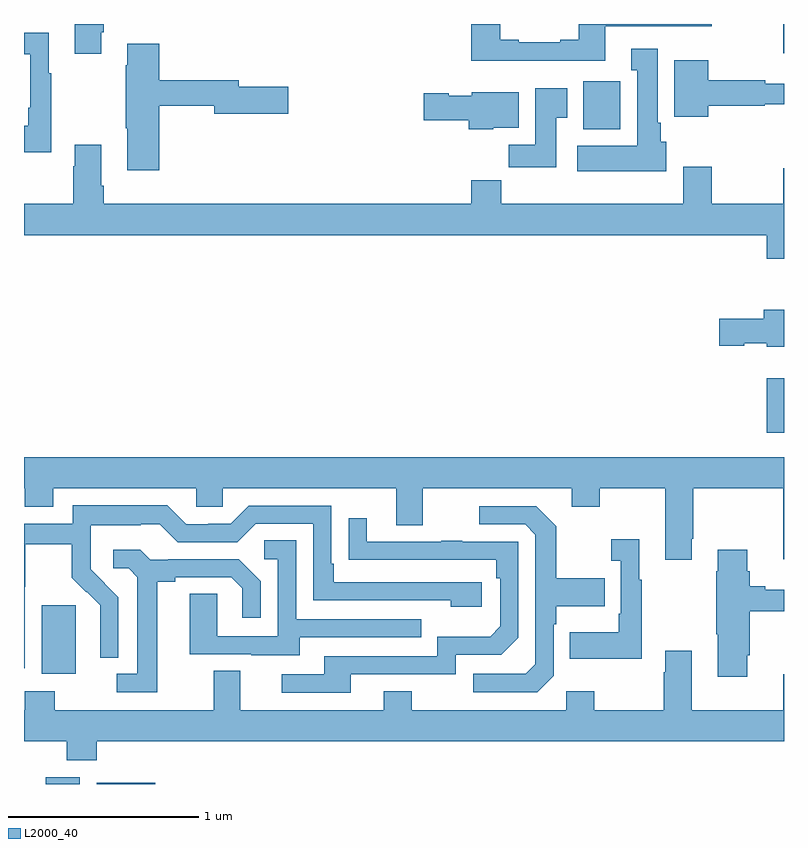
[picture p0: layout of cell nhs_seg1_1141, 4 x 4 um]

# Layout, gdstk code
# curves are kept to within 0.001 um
import gdstk
lib = gdstk.Library(unit=1e-6, precision=1e-09)
def R(c, l, rs):  # rectangles x0, y0, x1, y1
    for r in rs: c.add(gdstk.rectangle(r[:2], r[2:], *l))
def P(c, l, *ps):  # polygons
    for p in ps: c.add(gdstk.Polygon(p, *l))
L2000_40 = (2000, 40)

nhs_seg1_1141 = lib.new_cell('nhs_seg1_1141')
R(nhs_seg1_1141, L2000_40, [(173.114,526.199,173.293,526.234), (173.382,526.199,173.692,526.206), (173.093,526.778,173.272,527.139), (176.909,528.048,177,528.334), (175.943,529.646,176.139,529.897), (176.996,530.046,177,530.199)])
P(nhs_seg1_1141, L2000_40, [(176.059,530.187),(176.62,530.187),(176.62,530.199),(175.919,530.199),(175.919,530.116),(175.823,530.116),(175.823,530.103),(175.603,530.103),(175.603,530.116),(175.507,530.116),(175.507,530.199),(175.355,530.199),(175.355,530.006),(176.059,530.006)],
  [(173.407,530.155),(173.42,530.155),(173.42,530.199),(173.267,530.199),(173.267,530.043),(173.407,530.043)],
  [(173.143,529.939),(173.131,529.939),(173.131,530.152),(173,530.152),(173,530.039),(173.034,530.039),(173.034,529.759),(173.022,529.759),(173.022,529.663),(173,529.663),(173,529.523),(173.143,529.523)],
  [(173.711,529.768),(174.002,529.768),(174.002,529.726),(174.391,529.726),(174.391,529.868),(174.13,529.868),(174.13,529.904),(173.711,529.904),(173.711,530.095),(173.543,530.095),(173.543,529.982),(173.536,529.982),(173.536,529.651),(173.543,529.651),(173.543,529.428),(173.711,529.428)],
  [(176.38,529.578),(176.35,529.578),(176.35,529.678),(176.335,529.678),(176.335,530.068),(176.195,530.068),(176.195,529.955),(176.228,529.955),(176.228,529.558),(175.911,529.558),(175.911,529.424),(176.38,529.424)],
  [(176.602,529.768),(176.898,529.768),(176.898,529.776),(177,529.776),(177,529.885),(176.9,529.885),(176.9,529.904),(176.602,529.904),(176.602,530.008),(176.423,530.008),(176.423,529.712),(176.602,529.712)],
  [(175.801,529.705),(175.858,529.705),(175.858,529.861),(175.691,529.861),(175.691,529.564),(175.552,529.564),(175.552,529.446),(175.801,529.446)],
  [(175.47,529.652),(175.603,529.652),(175.603,529.84),(175.356,529.84),(175.356,529.822),(175.236,529.822),(175.236,529.835),(175.104,529.835),(175.104,529.693),(175.34,529.693),(175.34,529.646),(175.47,529.646)],
  [(177,529.441),(176.996,529.441),(176.996,529.252),(176.619,529.252),(176.619,529.447),(176.471,529.447),(176.471,529.252),(175.511,529.252),(175.511,529.376),(175.355,529.376),(175.355,529.252),(173.42,529.252),(173.42,529.348),(173.407,529.348),(173.407,529.564),(173.267,529.564),(173.267,529.451),(173.26,529.451),(173.26,529.252),(173,529.252),(173,529.088),(176.909,529.088),(176.909,528.964),(177,528.964)],
  [(177,528.694),(176.894,528.694),(176.894,528.648),(176.658,528.648),(176.658,528.506),(176.79,528.506),(176.79,528.518),(176.91,528.518),(176.91,528.5),(177,528.5)],
  [(176.515,527.491),(176.523,527.491),(176.523,527.756),(176.996,527.756),(176.996,527.382),(177,527.382),(177,527.92),(173,527.92),(173,527.756),(173.003,527.756),(173.003,527.657),(173.155,527.657),(173.155,527.756),(173.907,527.756),(173.907,527.658),(174.045,527.658),(174.045,527.756),(174.959,527.756),(174.959,527.562),(175.099,527.562),(175.099,527.756),(175.883,527.756),(175.883,527.657),(176.031,527.657),(176.031,527.756),(176.375,527.756),(176.375,527.379),(176.515,527.379)],
  [(173.004,527.236),(173.007,527.236),(173.007,527.46),(173.251,527.46),(173.251,527.285),(173.328,527.208),(173.331,527.211),(173.402,527.141),(173.402,527.018),(173.4,527.018),(173.4,526.864),(173.496,526.864),(173.496,527.182),(173.35,527.33),(173.35,527.427),(173.352,527.427),(173.352,527.561),(173.615,527.561),(173.615,527.565),(173.715,527.565),(173.808,527.472),(174.123,527.472),(174.219,527.568),(174.522,527.568),(174.522,527.166),(175.247,527.166),(175.247,527.132),(175.408,527.132),(175.408,527.262),(174.631,527.262),(174.631,527.359),(174.618,527.359),(174.618,527.664),(174.183,527.664),(174.087,527.568),(173.969,527.568),(173.969,527.565),(173.853,527.565),(173.753,527.665),(173.256,527.665),(173.256,527.568),(173,527.568),(173,526.807),(173.004,526.807)],
  [(175.788,526.77),(175.788,527.039),(175.801,527.039),(175.801,527.135),(176.057,527.135),(176.057,527.283),(175.801,527.283),(175.801,527.555),(175.695,527.661),(175.395,527.661),(175.395,527.565),(175.638,527.565),(175.692,527.511),(175.692,526.83),(175.641,526.779),(175.365,526.779),(175.365,526.683),(175.701,526.683)],
  [(174.721,526.776),(175.272,526.776),(175.272,526.878),(175.512,526.878),(175.602,526.968),(175.602,527.475),(175.307,527.475),(175.307,527.48),(175.195,527.48),(175.195,527.475),(174.805,527.475),(174.805,527.599),(174.709,527.599),(174.709,527.38),(175.486,527.379),(175.486,527.282),(175.506,527.282),(175.506,527.028),(175.453,526.975),(175.176,526.975),(175.176,526.872),(174.581,526.872),(174.581,526.776),(174.357,526.776),(174.357,526.68),(174.721,526.68)],
  [(176.251,527.275),(176.239,527.275),(176.239,527.488),(176.091,527.488),(176.091,527.375),(176.142,527.375),(176.142,527.095),(176.13,527.095),(176.13,526.999),(175.873,526.999),(175.873,526.859),(176.251,526.859)],
  [(174.451,526.971),(175.091,526.971),(175.091,527.067),(174.432,527.067),(174.432,527.483),(174.264,527.483),(174.264,527.382),(174.336,527.382),(174.336,526.977),(174.018,526.977),(174.018,527.201),(173.873,527.201),(173.873,526.881),(174.197,526.881),(174.197,526.877),(174.451,526.877)],
  [(173.701,527.264),(173.797,527.264),(173.797,527.286),(174.092,527.286),(174.149,527.229),(174.149,527.073),(174.246,527.073),(174.246,527.266),(174.13,527.382),(173.758,527.382),(173.758,527.379),(173.664,527.379),(173.612,527.431),(173.469,527.431),(173.469,527.334),(173.55,527.334),(173.597,527.287),(173.597,526.779),(173.487,526.779),(173.487,526.683),(173.701,526.683)],
  [(176.806,526.876),(176.819,526.876),(176.819,527.108),(177,527.108),(177,527.221),(176.902,527.221),(176.902,527.24),(176.819,527.24),(176.819,527.318),(176.806,527.318),(176.806,527.431),(176.651,527.431),(176.651,527.318),(176.644,527.318),(176.644,526.987),(176.651,526.987),(176.651,526.764),(176.806,526.764)],
  [(173.384,526.424),(177,526.424),(177,526.777),(176.996,526.777),(176.996,526.588),(176.515,526.588),(176.515,526.9),(176.375,526.9),(176.375,526.787),(176.368,526.787),(176.368,526.588),(176.001,526.588),(176.001,526.687),(175.854,526.687),(175.854,526.588),(175.041,526.588),(175.041,526.687),(174.893,526.687),(174.893,526.588),(174.139,526.588),(174.139,526.796),(173.999,526.796),(173.999,526.588),(173.163,526.588),(173.163,526.687),(173.003,526.687),(173.003,526.588),(173,526.588),(173,526.424),(173.224,526.424),(173.224,526.325),(173.384,526.325)])

lib.write_gds('nhs_seg1_1141.gds')
